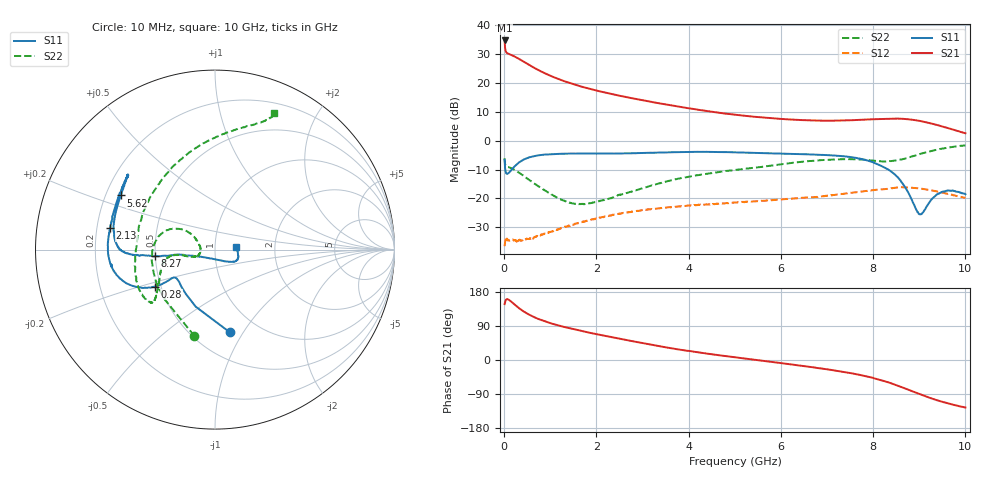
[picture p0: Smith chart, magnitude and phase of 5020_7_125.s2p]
# Hz S  dB  R 50
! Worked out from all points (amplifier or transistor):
!   1000 points, 10 MHz to 10 GHz, reference 50 ohm
!   highest |S21| = 34.6 dB at 10 MHz (marker M1)
!   |S21| within 3 dB of that: start of sweep to 25.06 MHz
!   unconditionally stable (mu >= 1): 49.2 MHz to 53.49 MHz; 62.42 MHz to end of sweep
!   at 1.67 GHz: K = 1.14, MAG = 21.2 dB, |S12| = -28.1 dB
!   at 5.01 GHz: K = 1.11, MAG = 13.2 dB, |S12| = -21.4 dB
!   at 10 GHz: K = 1.14, MAG = 8.9 dB, |S12| = -19.8 dB
!   S11 on the Smith chart (normalised r, x): 10 MHz: 0.74, -0.88; 280 MHz: 0.46, -0.23; 2.13 GHz: 0.25, +0.09; 5.62 GHz: 0.26, +0.25; 8.27 GHz: 0.50, -0.04; 10 GHz: 1.27, +0.04
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1e7  -6.57 -79.7  34.65 147.6  -36.50 34.7  -6.12 -103.4
7e7  -11.47 -143.0  30.24 160.6  -34.50 6.9  -9.01 -173.2
8e7  -11.36 -144.5  30.14 160.2  -34.20 8.5  -9.10 -175.9
1.1e8  -11.02 -146.1  29.93 158.2  -34.60 6.6  -9.23 177.8
2.2e8  -9.00 -147.0  29.15 146.9  -34.38 9.1  -10.07 164.1
2.8e8  -8.11 -148.4  28.65 140.8  -34.38 9.2  -10.66 159.6
3.9e8  -6.85 -151.9  27.62 130.7  -34.51 17.0  -11.84 152.7
5.2e8  -5.93 -156.7  26.38 121.1  -34.02 25.0  -13.36 148.2
6.5e8  -5.35 -161.0  25.19 113.1  -33.42 26.6  -14.82 146.9
7.9e8  -4.99 -165.0  24.02 106.0  -32.82 32.2  -16.26 147.1
9.6e8  -4.73 -169.2  22.74 98.8  -31.71 36.3  -17.96 150.3
1.15e9  -4.59 -173.3  21.46 92.0  -30.87 40.3  -19.76 156.8
1.68e9  -4.47 176.8  18.67 76.5  -28.17 41.7  -21.89 -178.3
2.13e9  -4.48 168.5  16.85 65.0  -26.40 39.6  -20.57 -162.8
3.34e9  -4.15 146.6  12.97 36.9  -23.43 26.8  -14.92 -169.6
5.01e9  -4.04 142.4  8.97 7.1  -21.41 9.9  -10.13 -162.4
5.62e9  -4.36 150.1  7.98 -2.4  -20.81 4.1  -8.99 -151.1
6.67e9  -4.78 168.6  6.98 -18.8  -19.60 -6.8  -7.02 -139.6
8.27e9  -9.50 -173.7  7.53 -56.7  -16.74 -38.0  -7.19 169.7
8.34e9  -10.13 -173.2  7.57 -59.4  -16.56 -40.1  -7.07 163.3
9.01e9  -25.47 -105.9  6.83 -90.3  -16.58 -68.8  -4.65 98.5
1e10  -18.53 7.7  2.56 -125.3  -19.83 -101.6  -1.62 66.5
